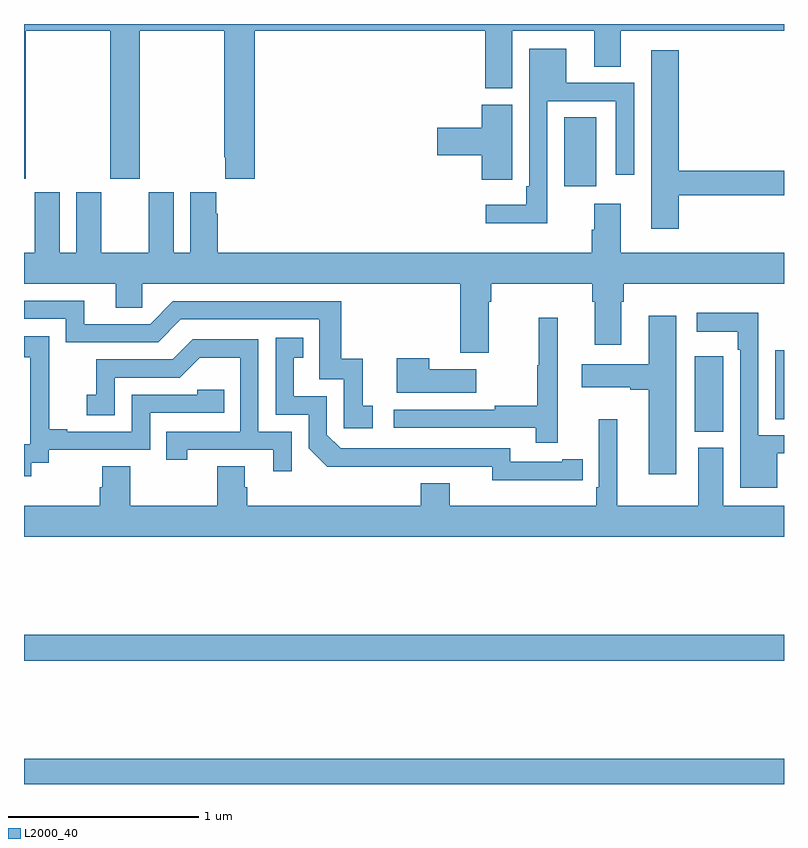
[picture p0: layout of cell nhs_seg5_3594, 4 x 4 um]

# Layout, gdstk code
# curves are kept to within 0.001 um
import gdstk
lib = gdstk.Library(unit=1e-6, precision=1e-09)
def R(c, l, rs):  # rectangles x0, y0, x1, y1
    for r in rs: c.add(gdstk.rectangle(r[:2], r[2:], *l))
def P(c, l, *ps):  # polygons
    for p in ps: c.add(gdstk.Polygon(p, *l))
L2000_40 = (2000, 40)

nhs_seg5_3594 = lib.new_cell('nhs_seg5_3594')
R(nhs_seg5_3594, L2000_40, [(323,848.799,327,848.932), (323,849.448,327,849.584), (326.531,850.654,326.68,851.05), (326.954,850.72,327,851.083), (325.844,851.946,326.011,852.308)])
P(nhs_seg5_3594, L2000_40, [(323,851.985),(323.01,851.985),(323.01,852.764),(323.455,852.764),(323.455,851.985),(323.61,851.985),(323.61,852.764),(324.055,852.764),(324.055,852.097),(324.059,852.097),(324.059,851.985),(324.215,851.985),(324.215,852.764),(325.427,852.764),(325.427,852.46),(325.57,852.46),(325.57,852.764),(326,852.764),(326,852.574),(326.14,852.574),(326.14,852.764),(327,852.764),(327,852.799),(323,852.799)],
  [(325.755,852.393),(326.115,852.393),(326.115,852.006),(326.211,852.006),(326.211,852.489),(325.855,852.489),(325.855,852.67),(325.659,852.67),(325.659,851.944),(325.643,851.944),(325.643,851.848),(325.431,851.848),(325.431,851.75),(325.755,851.75)],
  [(326.447,851.898),(327,851.898),(327,852.026),(326.447,852.026),(326.447,852.661),(326.3,852.661),(326.3,851.721),(326.447,851.721)],
  [(325.569,852.091),(325.57,852.091),(325.57,852.375),(325.409,852.375),(325.409,852.254),(325.176,852.254),(325.176,852.107),(325.409,852.107),(325.409,851.979),(325.569,851.979)],
  [(325.447,851.336),(325.46,851.336),(325.46,851.432),(325.991,851.432),(325.991,851.336),(326.003,851.336),(326.003,851.112),(326.143,851.112),(326.143,851.336),(326.156,851.336),(326.156,851.432),(327,851.432),(327,851.596),(326.14,851.596),(326.14,851.854),(326,851.854),(326,851.717),(325.988,851.717),(325.988,851.596),(324.02,851.596),(324.02,851.801),(324.013,851.801),(324.013,851.914),(323.876,851.914),(323.876,851.596),(323.788,851.596),(323.788,851.914),(323.657,851.914),(323.657,851.596),(323.407,851.596),(323.407,851.914),(323.276,851.914),(323.276,851.596),(323.188,851.596),(323.188,851.914),(323.057,851.914),(323.057,851.596),(323,851.596),(323,851.432),(323.483,851.432),(323.483,851.305),(323.622,851.305),(323.622,851.432),(325.295,851.432),(325.295,851.07),(325.447,851.07)],
  [(324.835,850.791),(324.782,850.791),(324.782,851.038),(324.671,851.038),(324.671,851.34),(323.784,851.34),(323.664,851.22),(323.317,851.22),(323.317,851.343),(323,851.343),(323,851.247),(323.22,851.247),(323.22,851.124),(323.706,851.124),(323.826,851.244),(324.555,851.244),(324.555,850.929),(324.684,850.929),(324.684,850.671),(324.835,850.671)],
  [(326.965,850.539),(327,850.539),(327,850.635),(326.865,850.635),(326.865,851.278),(326.541,851.278),(326.541,851.18),(326.757,851.18),(326.757,851.084),(326.769,851.084),(326.769,850.358),(326.965,850.358)],
  [(326.434,851.263),(326.288,851.263),(326.288,851.008),(325.935,851.008),(325.935,850.886),(326.192,850.886),(326.192,850.874),(326.288,850.874),(326.288,850.428),(326.434,850.428)],
  [(325.809,851.254),(325.708,851.254),(325.708,851.004),(325.701,851.004),(325.701,850.79),(325.477,850.79),(325.477,850.77),(324.945,850.77),(324.945,850.674),(325.693,850.674),(325.693,850.596),(325.809,850.596)],
  [(323.038,850.489),(323.13,850.489),(323.13,850.557),(323.664,850.557),(323.664,850.752),(324.053,850.752),(324.053,850.875),(323.913,850.875),(323.913,850.848),(323.568,850.848),(323.568,850.653),(323.227,850.653),(323.227,850.666),(323.132,850.666),(323.132,850.949),(323.133,850.949),(323.133,851.155),(323,851.155),(323,851.045),(323.033,851.045),(323.033,850.817),(323.034,850.817),(323.034,850.587),(323,850.587),(323,850.419),(323.038,850.419)],
  [(325.832,850.398),(325.94,850.398),(325.94,850.507),(325.832,850.507),(325.832,850.494),(325.56,850.494),(325.56,850.566),(324.666,850.566),(324.594,850.638),(324.594,850.839),(324.421,850.839),(324.421,851.043),(324.47,851.043),(324.47,851.149),(324.324,851.149),(324.324,850.743),(324.498,850.743),(324.498,850.566),(324.596,850.469),(325.464,850.47),(325.464,850.397)],
  [(324.408,850.653),(324.234,850.653),(324.234,851.139),(323.888,851.139),(323.783,851.034),(323.38,851.034),(323.38,850.849),(323.331,850.849),(323.331,850.74),(323.478,850.74),(323.478,850.938),(323.82,850.938),(323.924,851.042),(324.138,851.042),(324.138,850.653),(323.749,850.653),(323.749,850.506),(323.86,850.506),(323.86,850.557),(324.311,850.557),(324.311,850.446),(324.408,850.446)],
  [(325.381,850.981),(325.133,850.981),(325.133,851.041),(324.962,851.041),(324.962,850.859),(325.381,850.859)],
  [(327,850.264),(326.68,850.264),(326.68,850.569),(326.549,850.569),(326.549,850.264),(326.122,850.264),(326.122,850.72),(326.025,850.72),(326.025,850.36),(326.012,850.36),(326.012,850.264),(325.24,850.264),(325.24,850.381),(325.088,850.381),(325.088,850.264),(324.176,850.264),(324.176,850.362),(324.163,850.362),(324.163,850.472),(324.016,850.472),(324.016,850.264),(323.559,850.264),(323.559,850.472),(323.411,850.472),(323.411,850.362),(323.399,850.362),(323.399,850.264),(323,850.264),(323,850.1),(327,850.1)])

lib.write_gds('nhs_seg5_3594.gds')
